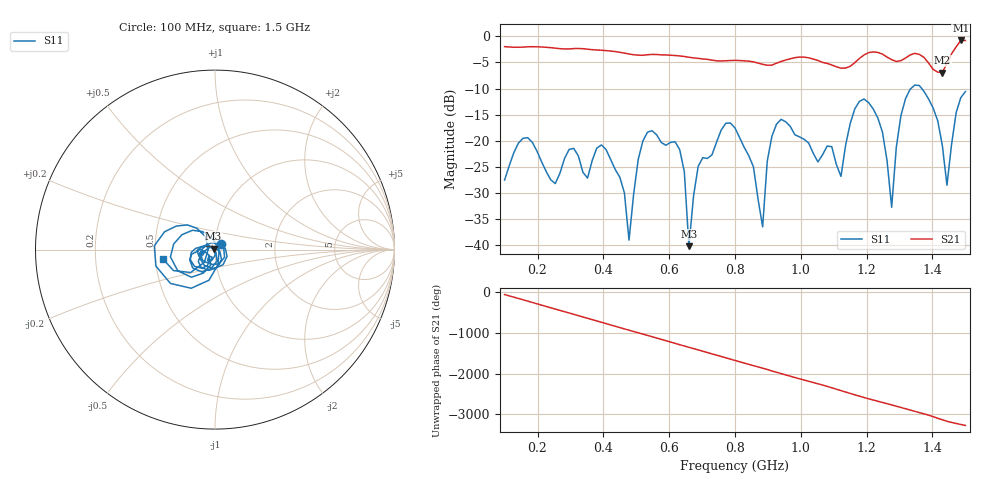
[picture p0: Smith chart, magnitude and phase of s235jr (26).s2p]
! NanoVNA-App
! Date: 2025-09-25 15:04:22
! Start: 100MHz Stop: 1,5GHz Points: 101
! S-Parameter data: F S11 S21 S12 S22
# Hz S RI R 50
!  Frequency  S11_Real  S11_Imag  S21_Real  S21_Imag  S12_Real  S12_Imag  S22_Real  S22_Imag
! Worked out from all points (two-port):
!   101 points, 100 MHz to 1.5 GHz, reference 50 ohm
!   highest |S21| = -0.78 dB at 1.486 GHz (marker M1); lowest = -6.9 dB at 1.43 GHz (marker M2)
!   |S21| within 3 dB of the highest: start of sweep to 637.3 MHz; 1.187 GHz to 1.258 GHz (70.3 MHz wide, 5.75 % of centre) (the widest 2 of 4)
!   lowest |S11| = -40.1 dB at 660 MHz (marker M3), VSWR 1.02, Z = 49.2 + j0.584 ohm
!   |S11| at or under -10 dB: start of sweep to 1.334 GHz; 1.368 GHz to end of sweep
!   S12 and S22 are empty: the file has one direction only
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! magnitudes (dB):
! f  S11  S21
! 100 MHz  -27.5  -2.0
! 170 MHz  -19.4  -2.0
! 338 MHz  -26.0  -2.4
! 408 MHz  -21.6  -2.7
! 478 MHz  -39.0  -3.4
! 520 MHz  -20.0  -3.6
! 576 MHz  -20.3  -3.5
! 632 MHz  -21.7  -3.7
! 660 MHz  -40.1  -4.0
! 688 MHz  -24.9  -4.2
! 800 MHz  -17.5  -4.6
! 884 MHz  -36.4  -5.4
! 926 MHz  -16.8  -5.1
! 1.038 GHz  -22.4  -4.3
! 1.122 GHz  -26.8  -6.1
! 1.192 GHz  -12.0  -3.6
! 1.276 GHz  -32.7  -4.5
! 1.332 GHz  -10.1  -3.6
! 1.43 GHz  -20.9  -6.9
! 1.444 GHz  -28.5  -5.1
! 1.486 GHz  -11.7  -0.8
! 1.5 GHz  -10.6  -0.8
